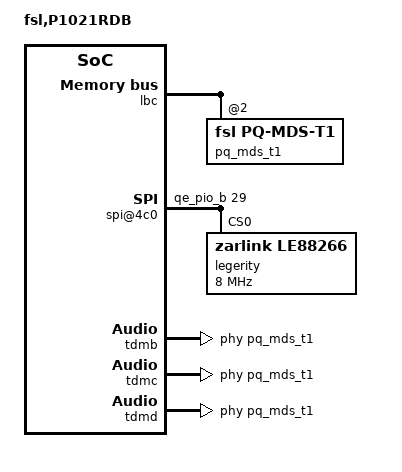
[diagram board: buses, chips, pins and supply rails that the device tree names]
/*
 * P1021 RDB Device Tree Source
 *
 * Copyright 2012 Freescale Semiconductor Inc.
 *
 * Redistribution and use in source and binary forms, with or without
 * modification, are permitted provided that the following conditions are met:
 *     * Redistributions of source code must retain the above copyright
 *       notice, this list of conditions and the following disclaimer.
 *     * Redistributions in binary form must reproduce the above copyright
 *       notice, this list of conditions and the following disclaimer in the
 *       documentation and/or other materials provided with the distribution.
 *     * Neither the name of Freescale Semiconductor nor the
 *       names of its contributors may be used to endorse or promote products
 *       derived from this software without specific prior written permission.
 *
 *
 * ALTERNATIVELY, this software may be distributed under the terms of the
 * GNU General Public License ("GPL") as published by the Free Software
 * Foundation, either version 2 of that License or (at your option) any
 * later version.
 *
 * THIS SOFTWARE IS PROVIDED BY Freescale Semiconductor "AS IS" AND ANY
 * EXPRESS OR IMPLIED WARRANTIES, INCLUDING, BUT NOT LIMITED TO, THE IMPLIED
 * WARRANTIES OF MERCHANTABILITY AND FITNESS FOR A PARTICULAR PURPOSE ARE
 * DISCLAIMED. IN NO EVENT SHALL Freescale Semiconductor BE LIABLE FOR ANY
 * DIRECT, INDIRECT, INCIDENTAL, SPECIAL, EXEMPLARY, OR CONSEQUENTIAL DAMAGES
 * (INCLUDING, BUT NOT LIMITED TO, PROCUREMENT OF SUBSTITUTE GOODS OR SERVICES;
 * LOSS OF USE, DATA, OR PROFITS; OR BUSINESS INTERRUPTION) HOWEVER CAUSED AND
 * ON ANY THEORY OF LIABILITY, WHETHER IN CONTRACT, STRICT LIABILITY, OR TORT
 * (INCLUDING NEGLIGENCE OR OTHERWISE) ARISING IN ANY WAY OUT OF THE USE OF THIS
 * SOFTWARE, EVEN IF ADVISED OF THE POSSIBILITY OF SUCH DAMAGE.
 */

/include/ "fsl/p1021si-pre.dtsi"
/ {
	model = "fsl,P1021RDB";
	compatible = "fsl,P1021RDB-PC";

	memory {
		device_type = "memory";
	};

	lbc: localbus@ffe05000 {
		reg = <0 0xffe05000 0 0x1000>;

		/* NOR, NAND Flashes and Vitesse 5 port L2 switch */
		ranges = <0x0 0x0 0x0 0xef000000 0x01000000
			  0x1 0x0 0x0 0xff800000 0x00040000
			  0x2 0x0 0x0 0xffb00000 0x00020000>;

		pq_mds_t1: tdmphy@2,0 {
			#address-cells = <1>;
			#size-cells = <1>;
			reg = <2 0 0x10000>;
			ranges = <0 2 0 0x10000>;
			compatible = "fsl,pq-mds-t1";

			dallas: ds26528@0 {
				compatible = "dallas,ds26528";
				reg = <0 0x2000>;
				line-rate = "e1";
				trans-mode = "normal";
			};

			pld-reg@2000 {
				compatible = "fsl,pq-mds-t1-pld";
				reg = <0x2000 0x1000>;
				fsl,card-support = <&dallas>;
			};
		};
	};

	soc: soc@ffe00000 {
		ranges = <0x0 0x0 0xffe00000 0x100000>;

		par_io@e0100 {
			#address-cells = <1>;
			#size-cells = <1>;
			reg = <0xe0100 0x60>;
			ranges = <0x0 0xe0100 0x60>;
			device_type = "par_io";
			num-ports = <3>;

			qe_pio_b: gpio-controller@20 {
				#gpio-cells = <2>;
				compatible = "fsl,mpc8569-qe-pario-bank",
					     "fsl,mpc8323-qe-pario-bank";
				reg = <0x20 0x18>;
				gpio-controller;
			};

			pio_qe_spi: qe_spi_pin@01 {
				pio-map = <
					0x1  0x13 0x1  0x0  0x3  0x0    /* QE_MUX_SPIMOSI */
					0x1  0x15 0x1  0x0  0x3  0x0    /* QE_MUX_CLK*/
					0x1  0x16 0x2  0x0  0x3  0x0    /* QE_MUX_SPIMISO*/
					0x1  0x1d 0x1  0x0  0x0  0x0>;  /* QE_SPISEL_MASTER*/
			};

			pio_tdma: tdm_pin@01 {
				pio-map = <
					0x1  0xc  0x2  0x0  0x1  0x0    /* CLK3 */
					0x1  0xd  0x2  0x0  0x1  0x0    /* CLK4 */
					0x1  0x18 0x3  0x0  0x1  0x0    /* TDMA_RXD0_OPT2*/
					0x1  0x17 0x3  0x0  0x1  0x0    /* TDMA_TXD0_OPT2*/
					0x1  0x1a 0x2  0x0  0x1  0x0    /* TDMA_RSYNC_OPT2*/
					0x1  0x19 0x2  0x0  0x1  0x0>;  /* TDMA_TSYNC_OPT2*/
			};

			pio_tdmb: tdm_pin@02 {
				pio-map = <
					0x1  0x1  0x2  0x0  0x1  0x0    /* CLK5 */
					0x0  0x1b 0x2  0x0  0x1  0x0    /* CLK6 */
					0x0  0x1d 0x3  0x0  0x1  0x0    /* TDMB_RXD0*/
					0x1  0x0  0x3  0x0  0x1  0x0    /* TDMB_TXD0*/
					0x0  0x1f 0x2  0x0  0x1  0x0    /* TDMB_RSYNC */
					0x0  0x1e 0x2  0x0  0x1  0x0>;  /* TDMB_TSYNC */
			};

			pio_tdmc: tdm_pin@03 {
				pio-map = <
					0x1  0xa  0x2  0x0  0x1  0x0    /* CLK7 */
					0x1  0xb  0x2  0x0  0x1  0x0    /* CLK13 */
					0x1  0x5  0x3  0x0  0x1  0x0    /* TDMC_RXD0*/
					0x1  0x4  0x3  0x0  0x1  0x0    /* TDMC_TXD0*/
					0x1  0x7  0x2  0x0  0x1  0x0    /* TDMC_RSYNC */
					0x1  0x6  0x2  0x0  0x1  0x0>;  /* TDMC_TSYNC */
			};

			pio_tdmd: tdm_pin@04 {
				pio-map = <
					0x2  0x0  0x2  0x0  0x1  0x0    /* CLK14 */
					0x1  0x1f 0x2  0x0  0x1  0x0    /* CLK15 */
					0x0  0x13 0x3  0x0  0x1  0x0    /* TDMD_RXD0_OPT2*/
					0x0  0x12 0x3  0x0  0x1  0x0    /* TDMD_TXD0_OPT2*/
					0x0  0x15 0x2  0x0  0x1  0x0    /* TDMD_RSYNC_OPT2*/
					0x0  0x14 0x2  0x0  0x1  0x0>;  /* TDMD_TSYNC_OPT2*/
			};
		};
	};

	pci0: pcie@ffe09000 {
		ranges = <0x2000000 0x0 0xa0000000 0 0xa0000000 0x0 0x20000000
			  0x1000000 0x0 0x00000000 0 0xffc10000 0x0 0x10000>;
		reg = <0 0xffe09000 0 0x1000>;
		pcie@0 {
			ranges = <0x2000000 0x0 0xa0000000
				  0x2000000 0x0 0xa0000000
				  0x0 0x20000000

				  0x1000000 0x0 0x0
				  0x1000000 0x0 0x0
				  0x0 0x100000>;
		};
	};

	pci1: pcie@ffe0a000 {
		reg = <0 0xffe0a000 0 0x1000>;
		ranges = <0x2000000 0x0 0x80000000 0 0x80000000 0x0 0x20000000
			  0x1000000 0x0 0x00000000 0 0xffc00000 0x0 0x10000>;
		pcie@0 {
			ranges = <0x2000000 0x0 0x80000000
				  0x2000000 0x0 0x80000000
				  0x0 0x20000000

				  0x1000000 0x0 0x0
				  0x1000000 0x0 0x0
				  0x0 0x100000>;
		};
	};

	qe: qe@ffe80000 {
		ranges = <0x0 0x0 0xffe80000 0x40000>;
		reg = <0 0xffe80000 0 0x480>;
		brg-frequency = <0>;
		bus-frequency = <0>;

		spi@4c0 {
			#address-cells = <1>;
			#size-cells = <0>;
			compatible = "fsl,mpc8569-qe-spi", "fsl,spi";
			reg = <0x4c0 0x40>;
			cell-index = <0>;
			interrupts = <2>;
			interrupt-parent = <&qeic>;
			pio-handle = <&pio_qe_spi>;
			gpios = <&qe_pio_b 29 0>;
			mode = "cpu-qe";

			legerity@0 {
				compatible = "zarlink,le88266";
				reg = <0>;
				spi-max-frequency = <8000000>;
			};
		};

		si1: si@700 {
			#address-cells = <1>;
			#size-cells = <0>;
			compatible = "fsl,qe-si";
			reg = <0x700 0x80>;
		};

		siram1: siram@1000 {
			#address-cells = <1>;
			#size-cells = <1>;
			compatible = "fsl,qe-siram";
			reg = <0x1000 0x800>;
		};

		tdma: ucc@2000 {
			compatible = "fsl,ucc-tdm";
			rx-clock-name = "clk3";
			tx-clock-name = "clk4";
			fsl,rx-sync-clock = "rsync_pin";
			fsl,tx-sync-clock = "tsync_pin";
			fsl,tx-timeslot = <0xfffffffe>;
			fsl,rx-timeslot = <0xfffffffe>;
			pio-handle = <&pio_tdma>;
			fsl,tdm-framer-type = "e1";
			fsl,tdm-mode = "normal";
			fsl,tdm-id = <0>;
			fsl,siram-entry-id = <0>;
			phy-handle = <&pq_mds_t1>;
		};

		tdmb: ucc@2200 {
			compatible = "fsl,ucc-tdm";
			rx-clock-name = "clk5";
			tx-clock-name = "clk6";
			fsl,rx-sync-clock = "rsync_pin";
			fsl,tx-sync-clock = "tsync_pin";
			fsl,tx-timeslot = <0xfffffffe>;
			fsl,rx-timeslot = <0xfffffffe>;
			pio-handle = <&pio_tdmb>;
			fsl,tdm-framer-type = "e1";
			fsl,tdm-mode = "normal";
			fsl,tdm-id = <1>;
			fsl,siram-entry-id = <2>;
			phy-handle = <&pq_mds_t1>;
		};

		tdmc: ucc@2400 {
			compatible = "fsl,ucc-tdm";
			rx-clock-name = "clk7";
			tx-clock-name = "clk13";
			fsl,rx-sync-clock = "rsync_pin";
			fsl,tx-sync-clock = "tsync_pin";
			fsl,tx-timeslot = <0xfffffffe>;
			fsl,rx-timeslot = <0xfffffffe>;
			pio-handle = <&pio_tdmc>;
			fsl,tdm-framer-type = "e1";
			fsl,tdm-mode = "normal";
			fsl,tdm-id = <2>;
			fsl,siram-entry-id = <4>;
			phy-handle = <&pq_mds_t1>;
		};

		tdmd: ucc@2600 {
			compatible = "fsl,ucc-tdm";
			rx-clock-name = "clk14";
			tx-clock-name = "clk15";
			fsl,rx-sync-clock = "rsync_pin";
			fsl,tx-sync-clock = "tsync_pin";
			pio-handle = <&pio_tdmd>;
			fsl,tx-timeslot = <0xfffffffe>;
			fsl,rx-timeslot = <0xfffffffe>;
			fsl,tdm-framer-type = "e1";
			fsl,tdm-mode = "normal";
			fsl,tdm-id = <3>;
			fsl,siram-entry-id = <6>;
			phy-handle = <&pq_mds_t1>;
		};
        };
};

/include/ "p1021rdb-pc.dtsi"
/include/ "fsl/p1021si-post.dtsi"
